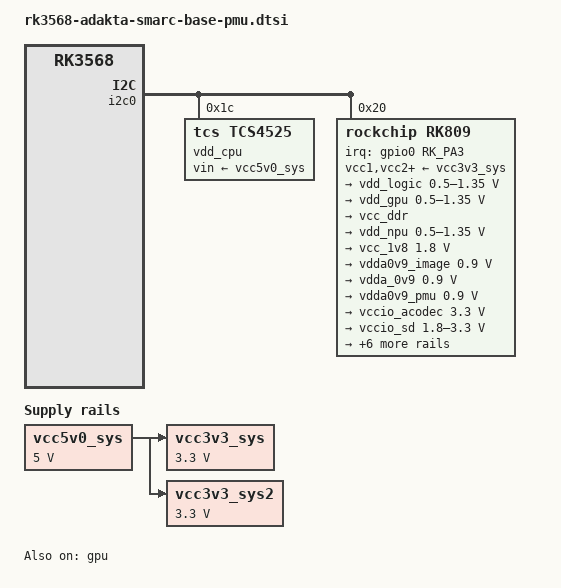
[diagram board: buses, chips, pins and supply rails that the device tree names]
// SPDX-License-Identifier: (GPL-2.0+ OR MIT)
/*
 * Copyright (c) 2024 Adakta, Ltd.
 *
 */

/ {
	vcc3v3_sys: regulator-3v3-vcc-sys {
		compatible = "regulator-fixed";
		regulator-name = "vcc3v3_sys";
		regulator-always-on;
		regulator-boot-on;
		regulator-min-microvolt = <3300000>;
		regulator-max-microvolt = <3300000>;
		vin-supply = <&vcc5v0_sys>;
	};

	vcc3v3_sys2: regulator-3v3-vcc-sys2 {
		compatible = "regulator-fixed";
		regulator-name = "vcc3v3_sys2";
		regulator-always-on;
		regulator-boot-on;
		regulator-min-microvolt = <3300000>;
		regulator-max-microvolt = <3300000>;
		vin-supply = <&vcc5v0_sys>;
	};

	vcc5v0_sys: regulator-5v0-vcc-sys {
		compatible = "regulator-fixed";
		regulator-name = "vcc5v0_sys";
		regulator-always-on;
		regulator-boot-on;
		regulator-min-microvolt = <5000000>;
		regulator-max-microvolt = <5000000>;
	};
};

&pinctrl {
	pmic {
		/omit-if-no-ref/
		pmic_int_l: pmic-int-l {
			rockchip,pins = <0 RK_PA3 RK_FUNC_GPIO &pcfg_pull_up>;
		};
	};
};

&cpu0 {
	cpu-supply = <&vdd_cpu>;
};

&cpu1 {
	cpu-supply = <&vdd_cpu>;
};

&cpu2 {
	cpu-supply = <&vdd_cpu>;
};

&cpu3 {
	cpu-supply = <&vdd_cpu>;
};

&gpu {
	mali-supply = <&vdd_gpu>;
	status = "okay";
};

&i2c0 {
	vdd_cpu: regulator@1c {
		compatible = "tcs,tcs4525";
		reg = <0x1c>;
		fcs,suspend-voltage-selector = <1>;
		regulator-name = "vdd_cpu";
		regulator-always-on;
		regulator-boot-on;
		regulator-min-microvolt = <800000>;
		regulator-max-microvolt = <1150000>;
		regulator-ramp-delay = <2300>;
		vin-supply = <&vcc5v0_sys>;

		regulator-state-mem {
			regulator-off-in-suspend;
		};
	};

	rk809: pmic@20 {
		compatible = "rockchip,rk809";
		reg = <0x20>;
		#clock-cells = <0>;
		interrupt-parent = <&gpio0>;
		interrupts = <RK_PA3 IRQ_TYPE_LEVEL_LOW>;
		pinctrl-names = "default";
		pinctrl-0 = <&pmic_int_l>;
		system-power-controller;
		wakeup-source;

		vcc1-supply = <&vcc3v3_sys>;
		vcc2-supply = <&vcc3v3_sys>;
		vcc3-supply = <&vcc3v3_sys>;
		vcc4-supply = <&vcc3v3_sys>;
		vcc5-supply = <&vcc3v3_sys>;
		vcc6-supply = <&vcc3v3_sys>;
		vcc7-supply = <&vcc3v3_sys>;
		vcc8-supply = <&vcc3v3_sys>;
		vcc9-supply = <&vcc3v3_sys>;

		regulators {
			vdd_logic: DCDC_REG1 {
				regulator-name = "vdd_logic";
				regulator-always-on;
				regulator-boot-on;
				regulator-initial-mode = <0x2>;
				regulator-min-microvolt = <500000>;
				regulator-max-microvolt = <1350000>;
				regulator-ramp-delay = <6001>;

				regulator-state-mem {
					regulator-off-in-suspend;
				};
			};

			vdd_gpu: DCDC_REG2 {
				regulator-name = "vdd_gpu";
				regulator-always-on;
				regulator-boot-on;
				regulator-initial-mode = <0x2>;
				regulator-min-microvolt = <500000>;
				regulator-max-microvolt = <1350000>;
				regulator-ramp-delay = <6001>;

				regulator-state-mem {
					regulator-off-in-suspend;
				};
			};

			vcc_ddr: DCDC_REG3 {
				regulator-name = "vcc_ddr";
				regulator-always-on;
				regulator-boot-on;
				regulator-initial-mode = <0x2>;

				regulator-state-mem {
					regulator-on-in-suspend;
				};
			};

			vdd_npu: DCDC_REG4 {
				regulator-name = "vdd_npu";
				regulator-initial-mode = <0x2>;
				regulator-min-microvolt = <500000>;
				regulator-max-microvolt = <1350000>;
				regulator-ramp-delay = <6001>;

				regulator-state-mem {
					regulator-off-in-suspend;
				};
			};

			vcc_1v8: DCDC_REG5 {
				regulator-name = "vcc_1v8";
				regulator-always-on;
				regulator-boot-on;
				regulator-min-microvolt = <1800000>;
				regulator-max-microvolt = <1800000>;

				regulator-state-mem {
					regulator-off-in-suspend;
				};
			};

			vdda0v9_image: LDO_REG1 {
				regulator-name = "vdda0v9_image";
				regulator-min-microvolt = <900000>;
				regulator-max-microvolt = <900000>;

				regulator-state-mem {
					regulator-off-in-suspend;
				};
			};

			vdda_0v9: LDO_REG2 {
				regulator-name = "vdda_0v9";
				regulator-always-on;
				regulator-boot-on;
				regulator-min-microvolt = <900000>;
				regulator-max-microvolt = <900000>;

				regulator-state-mem {
					regulator-off-in-suspend;
				};
			};

			vdda0v9_pmu: LDO_REG3 {
				regulator-name = "vdda0v9_pmu";
				regulator-always-on;
				regulator-boot-on;
				regulator-min-microvolt = <900000>;
				regulator-max-microvolt = <900000>;

				regulator-state-mem {
					regulator-on-in-suspend;
					regulator-suspend-microvolt = <900000>;
				};
			};

			vccio_acodec: LDO_REG4 {
				regulator-name = "vccio_acodec";
				regulator-always-on;
				regulator-boot-on;
				regulator-min-microvolt = <3300000>;
				regulator-max-microvolt = <3300000>;

				regulator-state-mem {
					regulator-off-in-suspend;
				};
			};

			vccio_sd: LDO_REG5 {
				regulator-name = "vccio_sd";
				regulator-always-on;
				regulator-boot-on;
				regulator-min-microvolt = <1800000>;
				regulator-max-microvolt = <3300000>;

				regulator-state-mem {
					regulator-off-in-suspend;
				};
			};

			vcc3v3_pmu: LDO_REG6 {
				regulator-name = "vcc3v3_pmu";
				regulator-always-on;
				regulator-boot-on;
				regulator-min-microvolt = <3300000>;
				regulator-max-microvolt = <3300000>;

				regulator-state-mem {
					regulator-on-in-suspend;
					regulator-suspend-microvolt = <3300000>;
				};
			};

			vcca_1v8: LDO_REG7 {
				regulator-name = "vcca_1v8";
				regulator-always-on;
				regulator-boot-on;
				regulator-min-microvolt = <1800000>;
				regulator-max-microvolt = <1800000>;

				regulator-state-mem {
					regulator-off-in-suspend;
				};
			};

			vcca1v8_pmu: LDO_REG8 {
				regulator-name = "vcca1v8_pmu";
				regulator-always-on;
				regulator-boot-on;
				regulator-min-microvolt = <1800000>;
				regulator-max-microvolt = <1800000>;

				regulator-state-mem {
					regulator-on-in-suspend;
					regulator-suspend-microvolt = <1800000>;
				};
			};

			vcca1v8_image: LDO_REG9 {
				regulator-name = "vcca1v8_image";
				regulator-min-microvolt = <1800000>;
				regulator-max-microvolt = <1800000>;

				regulator-state-mem {
					regulator-off-in-suspend;
				};
			};

			vcc_3v3: SWITCH_REG1 {
				regulator-name = "vcc_3v3";
				regulator-always-on;
				regulator-boot-on;

				regulator-state-mem {
					regulator-off-in-suspend;
				};
			};

			vcc3v3_sd: SWITCH_REG2 {
				regulator-name = "vcc3v3_sd";
				regulator-always-on;
				regulator-boot-on;

				regulator-state-mem {
					regulator-off-in-suspend;
				};
			};
		};
	};
};

&pmu_io_domains {
	pmuio1-supply = <&vcc3v3_pmu>;
	pmuio2-supply = <&vcc_1v8>;
	vccio1-supply = <&vcc_1v8>;
	vccio2-supply = <&vcc_1v8>;
	vccio3-supply = <&vccio_sd>;
	vccio4-supply = <&vcc_1v8>;
	vccio5-supply = <&vcc_3v3>;
	vccio6-supply = <&vcc_1v8>;
	vccio7-supply = <&vcc_1v8>;
	status = "okay";
};
